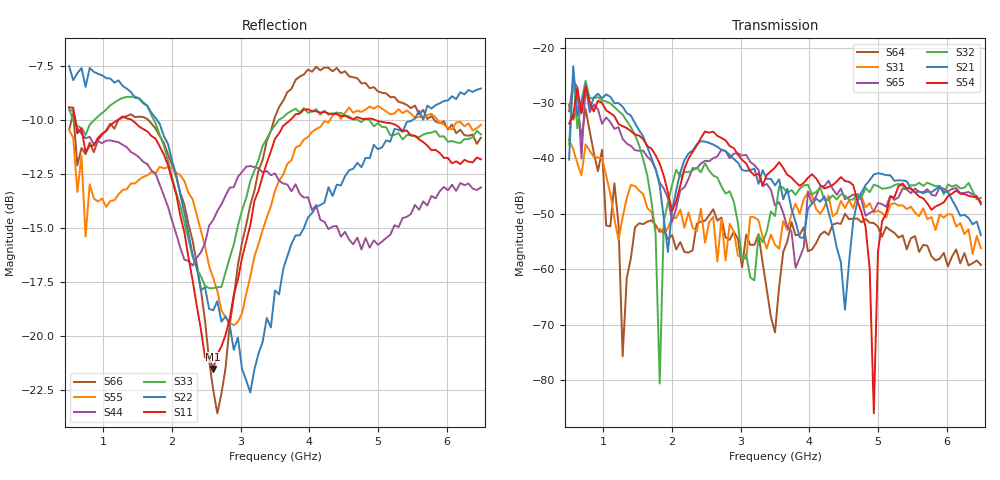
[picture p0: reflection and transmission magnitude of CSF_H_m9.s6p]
!Keysight Technologies,M9804A,MY58100912,A.14.10.03
!Date: Thursday, April 27, 2023 10:28:33
!Correction: S11(C  6-Port  )
!S12(C  6-Port  )
!S13(C  6-Port  )
!S14(C  6-Port  )
!S15(C  6-Port  )
!S16(C  6-Port  )
!S21(C  6-Port  )
!S22(C  6-Port  )
!S23(C  6-Port  )
!S24(C  6-Port  )
!S25(C  6-Port  )
!S26(C  6-Port  )
!S31(C  6-Port  )
!S32(C  6-Port  )
!S33(C  6-Port  )
!S34(C  6-Port  )
!S35(C  6-Port  )
!S36(C  6-Port  )
!S41(C  6-Port  )
!S42(C  6-Port  )
!S43(C  6-Port  )
!S44(C  6-Port  )
!S45(C  6-Port  )
!S46(C  6-Port  )
!S51(C  6-Port  )
!S52(C  6-Port  )
!S53(C  6-Port  )
!S54(C  6-Port  )
!S55(C  6-Port  )
!S56(C  6-Port  )
!S61(C  6-Port  )
!S62(C  6-Port  )
!S63(C  6-Port  )
!S64(C  6-Port  )
!S65(C  6-Port  )
!S66(C  6-Port  )
!S6P File: Measurement: :
# Hz S  RI  R 50
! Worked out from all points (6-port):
!   101 points, 500 MHz to 6.5 GHz, reference 50 ohm
!   strongest paths, dB at 500 MHz, 2 GHz, 3.5 GHz, 5 GHz, 6.5 GHz:
!     S54: -33.7, -49.5, -41.7, -56.9, -47.9
!     S21: -40.2, -49.6, -44.9, -42.7, -53.9
!     S32: -37.5, -44.8, -50.4, -45.0, -47.2
!     S65: -31.5, -51.5, -48.5, -48.0, -48.3
!     S31: -36.6, -50.7, -55.6, -49.4, -56.2
!     S64: -30.4, -53.8, -71.4, -52.3, -59.2
!   lowest |S11| = -21.5 dB at 2.6 GHz (marker M1), VSWR 1.18, Z = 42.5 + j2.16 ohm
!   |S11| at or under -10 dB: 589.5 MHz to 1.197 GHz (607.5 MHz wide, 68 % of centre); 1.419 GHz to 3.716 GHz (2.296 GHz wide, 89.4 % of centre); 4.975 GHz to end of sweep
